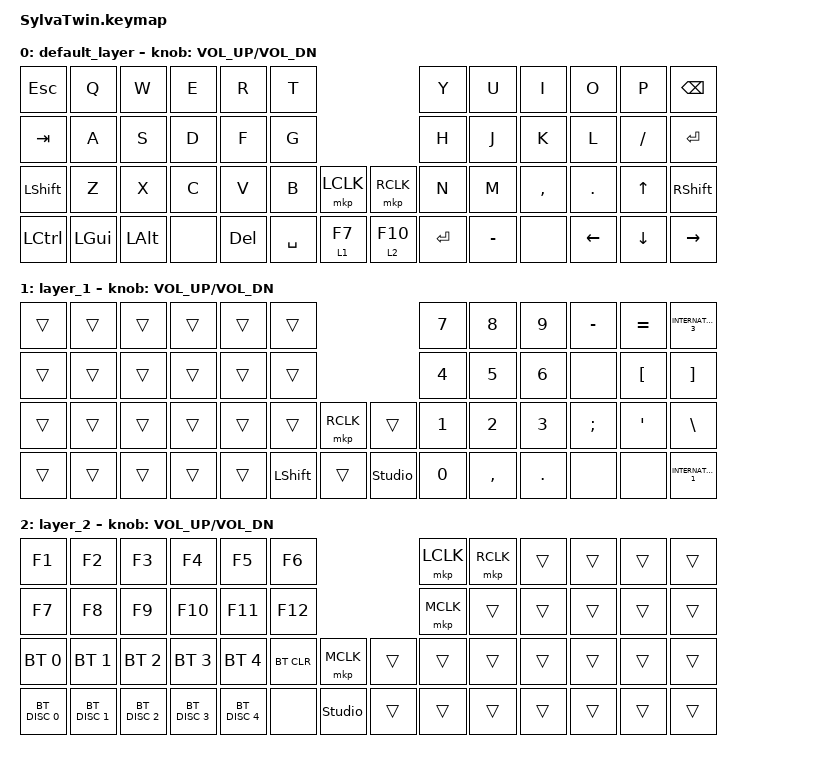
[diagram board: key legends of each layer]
/*
 * Copyright (c) 2020 The ZMK Contributors
 *
 * SPDX-License-Identifier: MIT
 */

#include <behaviors.dtsi>
#include <dt-bindings/zmk/bt.h>
#include <dt-bindings/zmk/keys.h>
#include <dt-bindings/zmk/pointing.h>

/ {
    combos {
        compatible = "zmk,combos";

        prtsc {
            bindings = <&kp PRINTSCREEN>;
            key-positions = <10 11>;
        };

        RightClick {
            bindings = <&mkp RCLK>;
            key-positions = <30 44>;
        };

        MiddleClick {
            bindings = <&mkp MCLK>;
            key-positions = <29 43>;
        };

        LeftClick {
            bindings = <&mkp LCLK>;
            key-positions = <31 45>;
        };

        MiddleClick2 {
            bindings = <&mkp MCLK>;
            key-positions = <32 46>;
        };

        zen-han {
            bindings = <&kp GRAVE>;
            key-positions = <0 1>;
        };
    };

    keymap {
        compatible = "zmk,keymap";

        default_layer {
            bindings = <
&kp ESC     &kp Q     &kp W     &kp E  &kp R    &kp T                            &kp Y      &kp U      &kp I      &kp O     &kp P      &kp BSPC
&kp TAB     &kp A     &kp S     &kp D  &kp F    &kp G                            &kp H      &kp J      &kp K      &kp L     &kp SLASH  &kp ENTER
&kp LSHIFT  &kp Z     &kp X     &kp C  &kp V    &kp B      &mkp LCLK  &mkp RCLK  &kp N      &kp M      &kp COMMA  &kp DOT   &kp UP     &kp RSHIFT
&kp LCTRL   &kp LGUI  &kp LALT  &none  &kp DEL  &kp SPACE  &lt 1 F7   &lt 2 F10  &kp ENTER  &kp MINUS  &none      &kp LEFT  &kp DOWN   &kp RIGHT
            >;

            sensor-bindings = <&inc_dec_kp C_VOL_UP C_VOL_DN>;
        };

        layer_1 {
            bindings = <
&trans  &trans  &trans  &trans  &trans  &trans                                     &kp NUMBER_7  &kp NUMBER_8  &kp NUMBER_9  &kp MINUS      &kp EQUAL         &kp INTERNATIONAL_3
&trans  &trans  &trans  &trans  &trans  &trans                                     &kp NUMBER_4  &kp NUMBER_5  &kp NUMBER_6  &none          &kp LEFT_BRACKET  &kp RIGHT_BRACKET
&trans  &trans  &trans  &trans  &trans  &trans          &mkp RCLK  &trans          &kp NUMBER_1  &kp NUMBER_2  &kp NUMBER_3  &kp SEMICOLON  &kp SINGLE_QUOTE  &kp BSLH
&trans  &trans  &trans  &trans  &trans  &kp LEFT_SHIFT  &trans     &studio_unlock  &kp NUMBER_0  &kp COMMA     &kp DOT       &none          &none             &kp INTERNATIONAL_1
            >;

            sensor-bindings = <&inc_dec_kp C_VOL_UP C_VOL_DN>;
        };

        layer_2 {
            bindings = <
&kp F1         &kp F2         &kp F3         &kp F4         &kp F5         &kp F6                              &mkp LCLK  &mkp RCLK  &trans  &trans  &trans  &trans
&kp F7         &kp F8         &kp F9         &kp F10        &kp F11        &kp F12                             &mkp MCLK  &trans     &trans  &trans  &trans  &trans
&bt BT_SEL 0   &bt BT_SEL 1   &bt BT_SEL 2   &bt BT_SEL 3   &bt BT_SEL 4   &bt BT_CLR  &mkp MCLK       &trans  &trans     &trans     &trans  &trans  &trans  &trans
&bt BT_DISC 0  &bt BT_DISC 1  &bt BT_DISC 2  &bt BT_DISC 3  &bt BT_DISC 4  &none       &studio_unlock  &trans  &trans     &trans     &trans  &trans  &trans  &trans
            >;

            sensor-bindings = <&inc_dec_kp C_VOL_UP C_VOL_DN>;
        };
    };
};
